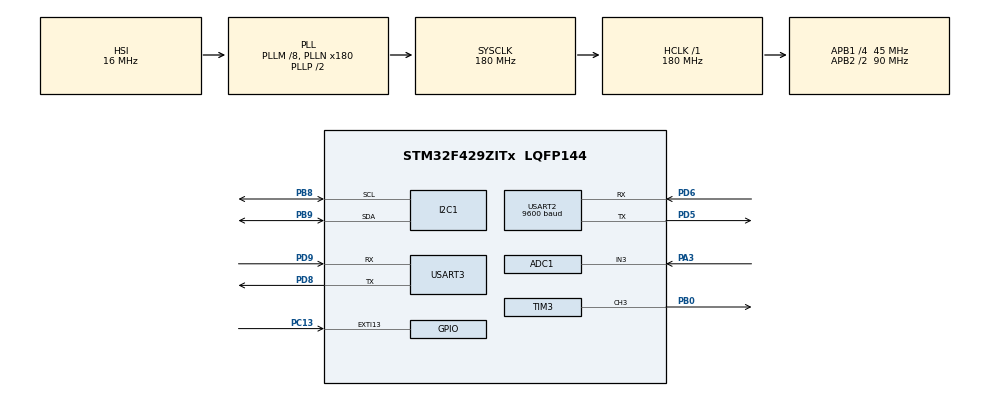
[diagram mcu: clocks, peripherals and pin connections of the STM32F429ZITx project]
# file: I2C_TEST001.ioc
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ADC1.Channel-0\#ChannelRegularConversion=ADC_CHANNEL_3
ADC1.ExternalTrigConv=ADC_EXTERNALTRIGCONV_T2_TRGO
ADC1.NbrOfConversionFlag=1
ADC1.Rank-0\#ChannelRegularConversion=1
ADC1.SamplingTime-0\#ChannelRegularConversion=ADC_SAMPLETIME_3CYCLES
ADC1.master=1
Mcu.Family=STM32F4
Mcu.Name=STM32F429ZITx
Mcu.Package=LQFP144
NVIC.EXTI15_10_IRQn=true\:0\:0\:false\:true\:true\:2\:true\:true\:true
NVIC.PriorityGroup=NVIC_PRIORITYGROUP_4
NVIC.TIM2_IRQn=true\:0\:0\:false\:true\:true\:3\:true\:true\:true
NVIC.TIM4_IRQn=true\:0\:0\:false\:true\:true\:4\:true\:true\:true
NVIC.USART2_IRQn=true\:0\:0\:false\:true\:true\:5\:true\:true\:true
NVIC.USART3_IRQn=true\:0\:0\:false\:true\:true\:1\:true\:true\:true
PA13.Mode=Serial_Wire
PA13.Signal=SYS_JTMS-SWDIO
PA14.Mode=Serial_Wire
PA14.Signal=SYS_JTCK-SWCLK
PA3.Signal=ADCx_IN3
PB0.Signal=S_TIM3_CH3
PB8.GPIO_Pu=GPIO_PULLUP
PB8.Mode=I2C
PB8.Signal=I2C1_SCL
PB9.GPIO_Pu=GPIO_PULLUP
PB9.Mode=I2C
PB9.Signal=I2C1_SDA
PC13.GPIO_ModeDefaultEXTI=GPIO_MODE_IT_RISING_FALLING
PC13.GPIO_PuPd=GPIO_PULLDOWN
PC13.Signal=GPXTI13
PC14/OSC32_IN.Mode=LSE-External-Oscillator
PC14/OSC32_IN.Signal=RCC_OSC32_IN
PC15/OSC32_OUT.Mode=LSE-External-Oscillator
PC15/OSC32_OUT.Signal=RCC_OSC32_OUT
PD5.Mode=Asynchronous
PD5.Signal=USART2_TX
PD6.Mode=Asynchronous
PD6.Signal=USART2_RX
PD8.Mode=Asynchronous
PD8.Signal=USART3_TX
PD9.Mode=Asynchronous
PD9.Signal=USART3_RX
ProjectManager.HeapSize=0x200
ProjectManager.StackSize=0x400
ProjectManager.TargetToolchain=STM32CubeIDE
RCC.48MHZClocksFreq_Value=90000000
RCC.AHBFreq_Value=180000000
RCC.APB1CLKDivider=RCC_HCLK_DIV4
RCC.APB1Freq_Value=45000000
RCC.APB1TimFreq_Value=90000000
RCC.APB2CLKDivider=RCC_HCLK_DIV2
RCC.APB2Freq_Value=90000000
RCC.APB2TimFreq_Value=180000000
RCC.CortexFreq_Value=180000000
RCC.HCLKFreq_Value=180000000
RCC.HSE_VALUE=25000000
RCC.HSI_VALUE=16000000
RCC.PLLM=8
RCC.PLLN=180
RCC.RCC_RTC_Clock_Source=RCC_RTCCLKSOURCE_LSE
RCC.RCC_RTC_Clock_SourceVirtual=RCC_RTCCLKSOURCE_LSE
RCC.SYSCLKFreq_VALUE=180000000
RCC.SYSCLKSource=RCC_SYSCLKSOURCE_PLLCLK
RCC.VCOOutputFreq_Value=360000000
RTC.Format=RTC_FORMAT_BIN
RTC.HourFormat=RTC_HOURFORMAT_12
RTC.TimeFormat=RTC_HOURFORMAT12_PM
SH.ADCx_IN3.0=ADC1_IN3,IN3
SH.S_TIM3_CH3.0=TIM3_CH3,PWM Generation3 CH3
TIM2.CounterMode=TIM_COUNTERMODE_DOWN
TIM2.Period=900
TIM2.Prescaler=50000
TIM2.TIM_MasterOutputTrigger=TIM_TRGO_UPDATE
TIM2.TIM_MasterSlaveMode=TIM_MASTERSLAVEMODE_ENABLE
TIM3.Channel-PWM\ Generation3\ CH3=TIM_CHANNEL_3
TIM3.CounterMode=TIM_COUNTERMODE_DOWN
TIM3.Period=6200
TIM3.Prescaler=29
TIM3.Pulse-PWM\ Generation3\ CH3=0
TIM3.TIM_MasterOutputTrigger=TIM_TRGO_RESET
TIM3.TIM_MasterSlaveMode=TIM_MASTERSLAVEMODE_DISABLE
TIM4.CounterMode=TIM_COUNTERMODE_DOWN
TIM4.Period=900
TIM4.Prescaler=100
USART2.BaudRate=9600
USART2.VirtualMode=VM_ASYNC
USART3.VirtualMode=VM_ASYNC
VP_RTC_VS_RTC_Activate.Mode=RTC_Enabled
VP_RTC_VS_RTC_Calendar.Mode=RTC_Calendar
VP_TIM2_VS_ClockSourceINT.Mode=Internal
VP_TIM3_VS_ClockSourceINT.Mode=Internal
VP_TIM4_VS_ClockSourceINT.Mode=Internal
board=custom

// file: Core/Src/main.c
/* USER CODE BEGIN Header */
/**
 ******************************************************************************
 * @file           : main.c
 * @brief          : Main program body
 ******************************************************************************
 * @attention
 *
 * Copyright (c) 2022 STMicroelectronics.
 * All rights reserved.
 *
 * This software is licensed under terms that can be found in the LICENSE file
 * in the root directory of this software component.
 * If no LICENSE file comes with this software, it is provided AS-IS.
 *
 ******************************************************************************
 */
/* USER CODE END Header */
#include "main.h"
#include "adc.h"
#include "i2c.h"
#include "rtc.h"
#include "tim.h"
#include "usart.h"
#include "gpio.h"

/* USER CODE BEGIN Includes */
#include <stdlib.h>
#include <string.h>
#include "lcd.h"
#include "flash.h"
#include "song.h"

/* USER CODE END Includes */

/* USER CODE BEGIN PTD */
typedef enum {
	NONE = 0x00U,
	SELECT = 0x01U,
	UP = 0x02U,
	DOWN = 0x03U,
	LEFT = 0X04U,
	RIGHT = 0X05U
} ADC_StatusTypeDef;

/* USER CODE END PTD */

/* USER CODE BEGIN PV */
uint8_t song_flag = 0;

//TIM_PWM variable
uint32_t count_bit = 0;
uint32_t flag_bit_1ms = 0;
uint32_t flag_alarm = 0;
uint32_t count_note = 0;
uint32_t song_time_division = 0;
uint32_t song_choice_flag = 0;

//TIM_BASIC_TIM variable
uint32_t sTimestart = 0;
uint32_t sTimecur = 0;

uint32_t get_time = 0;
uint32_t apply_flag = 0;
uint32_t get_time_apply = 0;
uint32_t exit_flag = 0;
uint32_t get_time_exit = 0;

//LCD variable
uint8_t lcdup[17] = { };

//i2c scan()
uint8_t row;
uint8_t rising_edge = 0;
uint8_t falling_edge = 0;
uint8_t mode = 0;
uint32_t start_tick = 0;
uint32_t cur_tick = 0;
uint32_t tick_gap = 0;
uint8_t pin_status[2] = { 0 };
uint8_t cursor = 0;

//ADC variable
ADC_StatusTypeDef adc_status;
uint32_t ADC_value;
uint8_t up = 0;
uint8_t down = 0;
uint8_t left = 0;
uint8_t right = 0;

//RTC variable
char Time[20];
char ampm[2][3] = { "AM", "PM" };
RTC_TimeTypeDef sTime;
RTC_DateTypeDef sDate;

// RTC_mode1 variable
char Time_temp[20];
RTC_TimeTypeDef sTime_temp;
// RTC_mode2 variable
char Time_AL[20] = { };
RTC_TimeTypeDef sTime_AL;

// UART variable
uint8_t buf[20], buf_index = 0;
uint8_t buf_2[20], buf_index_2 = 0;
uint8_t rx_3;
uint8_t rx_2;

/* USER CODE END PV */

void SystemClock_Config(void);
static void MX_NVIC_Init(void);
/* USER CODE BEGIN PFP */
int __io_putchar(int ch) {
	HAL_UART_Transmit(&huart3, &ch, 1, 100);
	return ch;
}

void InitFlag(int num);
char* note_address(int song_num, int count_note);
int time_value(int song_num, int count_note);

// i2c adc func
ADC_StatusTypeDef button_status(uint32_t value);
void screen(int cursor, RTC_TimeTypeDef sTime_screen);
// pwm func
void note(char pitch, char octave, char temp, int time, int volume);
uint32_t pitch_change(char pitch_text);
uint32_t octave_change(char octave_text);
uint32_t temp_change(char temp_text);

void adc_up(int up);
void adc_down(int down);
void adc_left(int left);
void adc_right(int right);

void song_choice_func (uint32_t DATA_32);
void mode_choice();
void mode_func_Normal();
void mode_func_SetTime();
void mode_func_SetAlarm();
void mode_func_SetSong();

uint32_t song_Set() ;

/* USER CODE END PFP */

int main(void)
{

  /* MCU Configuration--------------------------------------------------------*/

  /* Reset of all peripherals, Initializes the Flash interface and the Systick. */
HAL_Init();

  /* Configure the system clock */
  SystemClock_Config();

  /* Initialize all configured peripherals */
  MX_GPIO_Init();
  MX_RTC_Init();
  MX_I2C1_Init();
  MX_USART3_UART_Init();
  MX_ADC1_Init();
  MX_TIM3_Init();
  MX_TIM2_Init();
  MX_TIM4_Init();
  MX_USART2_UART_Init();

  /* Initialize interrupts */
  MX_NVIC_Init();
  /* USER CODE BEGIN 2 */
	HAL_TIM_Base_Start_IT(&htim2);
	HAL_TIM_Base_Start_IT(&htim4);
	HAL_UART_Receive_IT(&huart2, &rx_2, 1);
	HAL_UART_Receive_IT(&huart3, &rx_3, 1);

	song_flag = *((uint32_t*) 0x0800C000);
  /* USER CODE END 2 */

  /* Infinite loop */
  /* USER CODE BEGIN WHILE */
	init();
	LCD_Init(LCD_ADDR);
	up = 0;
	down = 0;
	left = 0;
	right = 0;

	while (1) {
		//init the time_temp
		sTime_temp.Hours = 0;
		sTime_temp.Minutes = 0;
		sTime_temp.Seconds = 0;
		sTime_temp.TimeFormat = 0;

		//Main loop
		mode_func_Normal();
		mode_func_SetTime();
		mode_func_SetAlarm();
		mode_func_SetSong();

    /* USER CODE END WHILE */

	}
}

void SystemClock_Config(void)
{
  RCC_OscInitTypeDef RCC_OscInitStruct = {0};
  RCC_ClkInitTypeDef RCC_ClkInitStruct = {0};

  /** Configure the main internal regulator output voltage
  */
  __HAL_RCC_PWR_CLK_ENABLE();
  __HAL_PWR_VOLTAGESCALING_CONFIG(PWR_REGULATOR_VOLTAGE_SCALE1);

  /** Initializes the RCC Oscillators according to the specified parameters
  * in the RCC_OscInitTypeDef structure.
  */
  RCC_OscInitStruct.OscillatorType = RCC_OSCILLATORTYPE_HSI|RCC_OSCILLATORTYPE_LSE;
  RCC_OscInitStruct.LSEState = RCC_LSE_ON;
  RCC_OscInitStruct.HSIState = RCC_HSI_ON;
  RCC_OscInitStruct.HSICalibrationValue = RCC_HSICALIBRATION_DEFAULT;
  RCC_OscInitStruct.PLL.PLLState = RCC_PLL_ON;
  RCC_OscInitStruct.PLL.PLLSource = RCC_PLLSOURCE_HSI;
  RCC_OscInitStruct.PLL.PLLM = 8;
  RCC_OscInitStruct.PLL.PLLN = 180;
  RCC_OscInitStruct.PLL.PLLP = RCC_PLLP_DIV2;
  RCC_OscInitStruct.PLL.PLLQ = 4;
  if (HAL_RCC_OscConfig(&RCC_OscInitStruct) != HAL_OK)
  {
    Error_Handler();
  }

  /** Activate the Over-Drive mode
  */
  if (HAL_PWREx_EnableOverDrive() != HAL_OK)
  {
    Error_Handler();
  }

  /** Initializes the CPU, AHB and APB buses clocks
  */
  RCC_ClkInitStruct.ClockType = RCC_CLOCKTYPE_HCLK|RCC_CLOCKTYPE_SYSCLK
                              |RCC_CLOCKTYPE_PCLK1|RCC_CLOCKTYPE_PCLK2;
  RCC_ClkInitStruct.SYSCLKSource = RCC_SYSCLKSOURCE_PLLCLK;
  RCC_ClkInitStruct.AHBCLKDivider = RCC_SYSCLK_DIV1;
  RCC_ClkInitStruct.APB1CLKDivider = RCC_HCLK_DIV4;
  RCC_ClkInitStruct.APB2CLKDivider = RCC_HCLK_DIV2;

  if (HAL_RCC_ClockConfig(&RCC_ClkInitStruct, FLASH_LATENCY_5) != HAL_OK)
  {
    Error_Handler();
  }
}

/**
  * @brief NVIC Configuration.
  * @retval None
  */
static void MX_NVIC_Init(void)
{
  /* USART3_IRQn interrupt configuration */
  HAL_NVIC_SetPriority(USART3_IRQn, 0, 0);
  HAL_NVIC_EnableIRQ(USART3_IRQn);
  /* EXTI15_10_IRQn interrupt configuration */
  HAL_NVIC_SetPriority(EXTI15_10_IRQn, 0, 0);
  HAL_NVIC_EnableIRQ(EXTI15_10_IRQn);
  /* TIM2_IRQn interrupt configuration */
  HAL_NVIC_SetPriority(TIM2_IRQn, 0, 0);
  HAL_NVIC_EnableIRQ(TIM2_IRQn);
  /* TIM4_IRQn interrupt configuration */
  HAL_NVIC_SetPriority(TIM4_IRQn, 0, 0);
  HAL_NVIC_EnableIRQ(TIM4_IRQn);
  /* USART2_IRQn interrupt configuration */
  HAL_NVIC_SetPriority(USART2_IRQn, 0, 0);
  HAL_NVIC_EnableIRQ(USART2_IRQn);
}

/* USER CODE BEGIN 4 */
void HAL_GPIO_EXTI_Callback(uint16_t GPIO_Pin) {

	// rising edge
	if (HAL_GPIO_ReadPin(GPIOC, GPIO_PIN_13) == 1) {
		rising_edge++;

		printf("rising edge : %d\r\n", rising_edge);
		if (rising_edge == 1) {
			start_tick = HAL_GetTick();
		}
	}

	// falling edge
	if (HAL_GPIO_ReadPin(GPIOC, GPIO_PIN_13) == 0) {
		if (rising_edge == 0) {
			falling_edge = 0;
		} else {
			falling_edge++;
		}
		printf("falling edge : %d\r\n", falling_edge);
	}

}

void HAL_TIM_PeriodElapsedCallback(TIM_HandleTypeDef *htim) {

	if (htim->Instance == TIM2) {

//		HAL_ADC_Start(&hadc1);
//		HAL_ADC_PollForConversion(&hadc1, 10);
		ADC_value = HAL_ADC_GetValue(&hadc1);
		HAL_ADC_Stop(&hadc1);

		if (button_status(ADC_value) == UP) {
			up++;
//			printf("UP : %d\r\n", up);
		}
		if (button_status(ADC_value) == DOWN) {
			down++;
//			printf("DOWN : %d\r\n", down);
		}
		if (button_status(ADC_value) == LEFT) {
			left++;
//			printf("LEFT : %d\r\n", left);
		}
		if (button_status(ADC_value) == RIGHT) {
			right++;
//			printf("RIGHT : %d\r\n", right);
		}

		if (apply_flag > 0) {
			get_time_apply++;
		}
		if (exit_flag > 0) {
			get_time_exit++;
		}
		get_time++;
//		printf("%d\r\n", ADC_value);
	}

	if (htim->Instance == TIM4) {
		if (flag_alarm > 0) {
			count_bit++;
		} else {
			count_bit = 0;
		}
		flag_bit_1ms = 1;
	}

}

void HAL_UART_RxCpltCallback(UART_HandleTypeDef *huart)
{
	if (huart->Instance == USART2) {
		HAL_UART_Transmit(&huart3, &rx_2, 1, 100);
		HAL_UART_Transmit(&huart2, &rx_2, 1, 100);

		HAL_UART_Receive_IT(&huart2, &rx_2, 1);
	}

	if (huart->Instance == USART3) {
		HAL_UART_Transmit(&huart2, &rx_3, 1, 100);
		HAL_UART_Transmit(&huart3, &rx_3, 1, 100);

		HAL_UART_Receive_IT(&huart3, &rx_3, 1);
	}
}

//init user button & LCD
void InitFlag(int num) {

	LCD_Init(LCD_ADDR);
	apply_flag = 0;
	get_time_apply = 0;
	rising_edge = 0;
	falling_edge = 0;
	mode = num;
	strcpy(lcdup, "");
}
ADC_StatusTypeDef button_status(uint32_t value) {

	if (value < 100)
		return UP;
	if (800 < value && value < 900)
		return DOWN;
	if (1800 < value && value < 2000)
		return LEFT;
	if (2800 < value && value < 3200)
		return RIGHT;
	if (4000 < value && value < 5000)
		return SELECT;

	return NONE;
}

void screen(int cursor, RTC_TimeTypeDef sTime_screen) {
	sprintf(Time_temp, "%s %02d:%02d:%02d", ampm[sTime_screen.TimeFormat],
			sTime_screen.Hours, sTime_screen.Minutes, sTime_screen.Seconds);
	LCD_SendCommand(LCD_ADDR, 0b11000000);
	LCD_SendString(LCD_ADDR, Time_temp);
	for (int i = 0; i < 11 - cursor; i++) {
		LCD_SendCommand(LCD_ADDR, 0b00010000);
	}
}

void note(char pitch_text, char octave_text, char temp_text, int time,
		int volume) {

	if (flag_bit_1ms == 1) {
		int pitch = pitch_change(pitch_text);
		int octave = octave_change(octave_text);
		int temp = temp_change(temp_text);

		// avoid error(ARR == CCR)
		if (volume <= 2) {
			volume = 2;
		}

		// setting the octave
		if (octave != 4) {
			if (octave < 4) {
				for (int i = 0; i < 4 - octave; i++) {
					pitch *= 2;
				}
			} else {
				for (int i = 0; i < octave - 4; i++) {
					pitch /= 2;
				}
			}
		}

		TIM3->ARR = pitch;
		TIM3->CCR3 = pitch / volume;

		flag_bit_1ms = 0;
	}
}
uint32_t pitch_change(char pitch_text) {
	if (pitch_text == 'N') {
		return N;
	} else if (pitch_text == 'C') {
		return C;
	} else if (pitch_text == 'D') {
		return D;
	} else if (pitch_text == 'E') {
		return E;
	} else if (pitch_text == 'F') {
		return F;
	} else if (pitch_text == 'G') {
		return G;
	} else if (pitch_text == 'A') {
		return A;
	} else if (pitch_text == 'B') {
		return B;
	} else {
		return N;
	}
}
uint32_t octave_change(char octave_text) {
	return octave_text - '0';
}
uint32_t temp_change(char temp_text) {
	if (temp_text == 'N') {
		return 0;
	} else if (temp_text == 'S') {
		return 1;
	} else if (temp_text == 'F') {
		return -1;
	} else {
		return 0;
	}
}

char* note_address(int song_num, int count_note) {
	char *song_temp_note;

	if (song_num == 1) {
		song_temp_note = &song_note_1[count_note][0];
	} else if (song_num == 2) {
		song_temp_note = &song_note_2[count_note][0];
	}

	return song_temp_note;
}

int time_value(int song_num, int count_note) {
	int song_time;

	if (song_num == 1) {
		song_time = song_time_1[count_note];
	}

	else if (song_num == 2) {
		song_time = song_time_2[count_note];
	}
	return song_time;
}

void adc_up(int up) {
	if (up > 0) {
		//AM or PM switching
		if (cursor == 0) {
			if (sTime_AL.TimeFormat == 0) {
				sTime_AL.TimeFormat = 1;
				if (sTime_AL.Hours == 0) {
					sTime_AL.Hours = 12;
				}
				screen(cursor, sTime_AL);

			} else if (sTime_AL.TimeFormat == 1) {
				sTime_AL.TimeFormat = 0;
				if (sTime_AL.Hours == 12) {
					sTime_AL.Hours = 0;
				}
				screen(cursor, sTime_AL);
			}
		}

		// 10H switching
		else if (cursor == 3) {

			if (sTime_AL.Hours < 3) {
				sTime_AL.Hours += 10;
			}
			screen(cursor, sTime_AL);
		}

		// 1H switching
		else if (cursor == 4) {

			//AM
			if (sTime_AL.TimeFormat == 0) {
				// 0 ~ 11
				if (0 <= sTime_AL.Hours && sTime_AL.Hours < 11) {
					sTime_AL.Hours++;
				}
			}
			//PM
			else if (sTime_AL.TimeFormat == 1) {

				// 1 ~ 12
				if (1 <= sTime_AL.Hours && sTime_AL.Hours < 12) {
					sTime_AL.Hours++;
				}
			}
			screen(cursor, sTime_AL);
		}

		// 10M switching
		else if (cursor == 6) {
			if (0 <= sTime_AL.Minutes && sTime_AL.Minutes < 50) {
				sTime_AL.Minutes += 10;
			}
			screen(cursor, sTime_AL);
		}
		// 1M switching
		else if (cursor == 7) {
			if (0 <= sTime_AL.Minutes && sTime_AL.Minutes < 59) {
				sTime_AL.Minutes += 1;
			}
			screen(cursor, sTime_AL);
		}

		// 10S switching
		else if (cursor == 9) {
			if (0 <= sTime_AL.Seconds && sTime_AL.Seconds < 50) {
				sTime_AL.Seconds += 10;
			}
			screen(cursor, sTime_AL);
		}
		// 1S switching
		else if (cursor == 10) {
			if (0 <= sTime_AL.Seconds && sTime_AL.Seconds < 59) {
				sTime_AL.Seconds += 1;
			}
			screen(cursor, sTime_AL);
		}

		// clear the up flag
		up = 0;
	}
}

void adc_down(int down) {
	if (down > 0) {

		//AM or PM switching
		if (cursor == 0) {
			if (sTime_AL.TimeFormat == 0) {
				sTime_AL.TimeFormat = 1;
				if (sTime_AL.Hours == 0) {
					sTime_AL.Hours = 12;
				}
				screen(cursor, sTime_AL);
			} else if (sTime_AL.TimeFormat == 1) {
				sTime_AL.TimeFormat = 0;
				if (sTime_AL.Hours == 12) {
					sTime_AL.Hours = 0;
				}
				screen(cursor, sTime_AL);
			}
		}

		// 1H switching
		else if (cursor == 4) {
			if (sTime_AL.Hours > 0) {
				sTime_AL.Hours--;
			}
			screen(cursor, sTime_AL);
		}

		// 10M switching
		else if (cursor == 6) {
			if (0 < sTime_AL.Minutes && sTime_AL.Minutes <= 50) {
				sTime_AL.Minutes -= 10;
			}
			screen(cursor, sTime_AL);
		}
		// 1M switching
		else if (cursor == 7) {
			if (0 < sTime_AL.Minutes && sTime_AL.Minutes <= 59) {
				sTime_AL.Minutes -= 1;
			}
			screen(cursor, sTime_AL);
		}

		// 10S switching
		else if (cursor == 9) {
			if (0 < sTime_AL.Seconds && sTime_AL.Seconds <= 50) {
				sTime_AL.Seconds -= 10;
			}
			screen(cursor, sTime_AL);
		}
		// 1S switching
		else if (cursor == 10) {
			if (0 < sTime_AL.Seconds && sTime_AL.Seconds <= 59) {
				sTime_AL.Seconds -= 1;
			}
			screen(cursor, sTime_AL);
		}

		// clear the down flag
		down = 0;
	}
}

void adc_left(int left) {
	if (left > 0) {
		if (cursor > 0) {
			cursor--;
			LCD_SendCommand(LCD_ADDR, 0b00010000);

			if (cursor == 8) {
				cursor--;
				LCD_SendCommand(LCD_ADDR, 0b00010000);
			}

			if (cursor == 5) {
				cursor--;
				LCD_SendCommand(LCD_ADDR, 0b00010000);
			}

			if (cursor == 2) {
				cursor -= 2;
				LCD_SendCommand(LCD_ADDR, 0b00010000);
				LCD_SendCommand(LCD_ADDR, 0b00010000);
			}
		}

		// clear the left flag
		left = 0;
	}
}

void adc_right(int right) {
	if (right > 0) {

		if (cursor < 10) {
			cursor++;
			LCD_SendCommand(LCD_ADDR, 0b00010100);

			if (cursor == 8) {
				cursor++;
				LCD_SendCommand(LCD_ADDR, 0b00010100);
			}

			if (cursor == 5) {
				cursor++;
				LCD_SendCommand(LCD_ADDR, 0b00010100);
			}

			if (cursor == 1) {
				cursor += 2;
				LCD_SendCommand(LCD_ADDR, 0b00010100);
				LCD_SendCommand(LCD_ADDR, 0b00010100);
			}
		}

		//clear the right flag
		right = 0;
	}
}

void song_choice_func (uint32_t DATA_32) {
	if (DATA_32 == 0x00000001) {
		song_choice_flag = 1;
	}
	else if (DATA_32 == 0x00000002) {
		song_choice_flag = 1;
	}
}

void mode_choice() {
	//mode choose while loop
	while (rising_edge >= 1) {
		cur_tick = HAL_GetTick();
		tick_gap = cur_tick - start_tick;

		//remove bounce effect
		if (tick_gap < 100 && rising_edge > 1) {
			rising_edge = 1;
		}

		if (tick_gap >= 300) {

			if (rising_edge == 1 && falling_edge >= 1) {

				// init the temp
				sTime_temp.Hours = 0;
				sTime_temp.Minutes = 0;
				sTime_temp.Seconds = 0;
				sTime_temp.TimeFormat = 0;
				cursor = 0;

				// LCD up
				LCD_Init(LCD_ADDR);
				LCD_SendCommand(LCD_ADDR, 0b10000000);
				strcpy(lcdup, "Set Time Mode");
				LCD_SendString(LCD_ADDR, lcdup);
				// LCD down
				screen(cursor, sTime_temp);

				LCD_SendCommand(LCD_ADDR, 0b00001111);

				//init the user button
				rising_edge = 0;
				falling_edge = 0;
				mode = 1;
				printf("one click==========================\r\n");
			}

			if (rising_edge >= 2 && falling_edge >= 1) {
				// init the temp
				sTime_AL.Hours = 0;
				sTime_AL.Minutes = 0;
				sTime_AL.Seconds = 0;
				sTime_AL.TimeFormat = 0;
				cursor = 0;

				// LCD up
				LCD_Init(LCD_ADDR);
				//blink on
				LCD_SendCommand(LCD_ADDR, 0b00001111);

				LCD_SendCommand(LCD_ADDR, 0b10000000);
				strcpy(lcdup, "Alarm Mode");
				LCD_SendString(LCD_ADDR, lcdup);
				// LCD down
				screen(cursor, sTime_AL);

				//init the user button
				rising_edge = 0;
				falling_edge = 0;
				mode = 2;

				printf("two click++++++++++++++++++++++++++\r\n");
			}

			if (tick_gap >= 2000 && falling_edge == 0) {

				LCD_Init(LCD_ADDR);

				// set address to 0x00
				LCD_SendCommand(LCD_ADDR, 0b10000000);
				LCD_SendString(LCD_ADDR, "Music Setting");

				// set address to 0x40
				LCD_SendCommand(LCD_ADDR, 0b11000000);
				LCD_SendString(LCD_ADDR, "1.Traffic Light");

				rising_edge = 0;
				falling_edge = 0;
				mode = 3;
				printf("long click//////////////////////////\r\n");
			}
		}
	}
}

void mode_func_Normal() {
	while (mode == 0) {
		HAL_RTC_GetTime(&hrtc, &sTime, RTC_FORMAT_BIN);
		HAL_RTC_GetDate(&hrtc, &sDate, RTC_FORMAT_BIN);
		HAL_ADC_Start(&hadc1);

		sprintf(Time, "%s %02d:%02d:%02d", ampm[sTime.TimeFormat], sTime.Hours,
				sTime.Minutes, sTime.Seconds);

		if (strcmp(lcdup, "Park Jung Hwan") != 0) {
			LCD_Init(LCD_ADDR);
			strcpy(lcdup, "Park Jung Hwan");
			// LCD up
			LCD_SendCommand(LCD_ADDR, 0b10000000);
			LCD_SendString(LCD_ADDR, lcdup);

			sprintf(Time, "%s %02d:%02d:%02d", ampm[sTime.TimeFormat],
					sTime.Hours, sTime.Minutes, sTime.Seconds);

			// LCD down
			LCD_SendCommand(LCD_ADDR, 0b11000000);
			LCD_SendString(LCD_ADDR, Time);
		}

		sTimestart = sTimecur;
		sTimecur = sTime.Seconds;

		if (sTimecur != sTimestart) {
			// LCD down
			LCD_SendCommand(LCD_ADDR, 0b11000000);
			LCD_SendString(LCD_ADDR, Time);
		}
		////////////////////////////////////////////////////////////////////////////////////////////////////
		////////////////////////////////////////////////////////////////////////////////////////////////////
		if (strcmp(Time, Time_AL) == 0) {
			flag_alarm++;
			HAL_TIM_PWM_Start(&htim3, TIM_CHANNEL_3);

		}
		if (flag_alarm > 0) {
			int song_temp_time = time_value(song_flag, count_note);
			char *song_temp_note = note_address(song_flag, count_note);

			if (song_temp_note[0] == '0') {
				TIM3->CCR3 = 0;
				count_note = 0;
				flag_alarm = 0;
				HAL_TIM_PWM_Stop(&htim3, TIM_CHANNEL_3);
			}

			song_time_division = 2000 / song_temp_time;

			if (song_time_division >= count_bit) {

				char tempP;
				char tempO;
				char tempT;

				tempP = song_temp_note[0];
				tempO = song_temp_note[1];
				tempT = song_temp_note[2];

				note(tempP, tempO, tempT, 2000 / song_time_division,
						2 + (count_bit));

			}

			if (song_time_division < count_bit) {
				count_note++;
				count_bit = 0;
			}

			////////////////////////////////////////////////////////////////////////////////////////////////////
			////////////////////////////////////////////////////////////////////////////////////////////////////
		}
		//==========================================================================================================
		mode_choice();
	}
}

void mode_func_SetTime() {
		//==========================================================================================================
		//Set Time loop
		while (mode == 1) {

			// start adc for read adc_value
			HAL_ADC_Start(&hadc1);

			// IF USER CLICK THE USER BUTTON
			// USER CAN CHOOSE EXIT OR APPLY
			if (rising_edge >= 1) {

				// this flag is check the exit or apply
				apply_flag = 1;

				// EXIT without apply
				if (falling_edge > 0) {
					InitFlag(0);
					printf("MODE1 exit\r\n");
				}
				// APPLY and exit
				if (falling_edge == 0 && get_time_apply > 4) {

					// sTime is now applied by user
					sTime.Hours = sTime_temp.Hours;
					sTime.Minutes = sTime_temp.Minutes;
					sTime.Seconds = sTime_temp.Seconds;
					sTime.TimeFormat = sTime_temp.TimeFormat;
					HAL_RTC_SetTime(&hrtc, &sTime, RTC_FORMAT_BIN);

					InitFlag(0);
					printf("MODE1 APPLY\r\n");
				}
			}

			if (get_time > 0) {

				adc_up(up);
				adc_down(down);
				adc_left(left);
				adc_right(right);

				// clear the get_time flag (to measure the time)
				get_time = 0;

			}
		}

		//==========================================================================================================
}
void mode_func_SetAlarm() {
		//AL loop
		while (mode == 2) {
			// start adc for read adc_value
			HAL_ADC_Start(&hadc1);

			// IF USER CLICK THE USER BUTTON
			// USER CAN CHOOSE EXIT OR APPLY
			if (rising_edge >= 1) {

				// Alarm init
				sprintf(Time_AL, "");

				// this flag is check the exit or apply
				apply_flag = 1;

				// EXIT without apply
				if (falling_edge > 0) {
					// ===========================================init func

					InitFlag(0);
					printf("MODE exit\r\n");

					// ===========================================init func
				}
				// APPLY and exit
				if (falling_edge == 0 && get_time_apply > 4) {

					sprintf(Time_AL, "%s %02d:%02d:%02d",
							ampm[sTime_AL.TimeFormat], sTime_AL.Hours,
							sTime_AL.Minutes, sTime_AL.Seconds);

					// ===========================================init func
					InitFlag(0);
					printf("MODE APPLY\r\n");

					// ===========================================init func
				}
			}

			if (get_time > 0) {

				adc_up(up);
				adc_down(down);
				adc_left(left);
				adc_right(right);

				// clear the get_time flag (to measure the time)
				get_time = 0;

			}
		}
		//==========================================================================================================
}
void mode_func_SetSong() {
		//Song choice loop
		while (mode == 3) {

			HAL_ADC_Start(&hadc1);
			uint32_t DATA_32;
			if (get_time > 0) {
//				HAL_ADC_Start(&hadc1);

				if (up > 0) {
					song_flag++;

					if (song_flag <= 0) {
						song_flag = 2;
					}
					else if (song_flag > 2) {
						song_flag = 1;
					}
					DATA_32 = song_Set();
					up = 0;
				}
				if (down > 0) {
					song_flag--;
					if (song_flag <= 0) {
						song_flag = 2;
					}
					else if (song_flag > 2) {
						song_flag = 1;
					}
					DATA_32 = song_Set();
					down = 0;
				}

				// clear the get_time flag (to measure the time)
				get_time = 0;
			}

			// USER CAN CHOOSE EXIT OR APPLY
			if (rising_edge >= 1) {

				// this flag is check the exit or apply
				apply_flag = 1;

				// EXIT without apply
				if (falling_edge > 0) {
					InitFlag(0);
					printf("MODE3 exit\r\n");
				}
				// APPLY and exit
				if (falling_edge == 0 && get_time_apply > 4) {

					LCD_Init(LCD_ADDR);

					// set address to 0x00
					LCD_SendCommand(LCD_ADDR, 0b10000000);
					strcpy(lcdup, "Flash Writing");
					LCD_SendString(LCD_ADDR, lcdup);

					// set address to 0x40
					LCD_SendCommand(LCD_ADDR, 0b11000000);
					LCD_SendString(LCD_ADDR, "Wait for a Sec");

					// Flash Writing Course--------------------------------------------------------------------------------------------------------------------------------------------------
					uint32_t ADDR_FLASH_SECTOR = ADDR_FLASH_SECTOR_3;
					FlashWritingOne(ADDR_FLASH_SECTOR, DATA_32);
					song_flag = *((uint32_t*) 0x0800C000);

					// Flash Writing Course--------------------------------------------------------------------------------------------------------------------------------------------------
					InitFlag(0);
					printf("MODE3 APPLY\r\n");
				}
			}
		}
		//==========================================================================================================
}

uint32_t song_Set() {
	uint32_t DATA_32;

	LCD_Init(LCD_ADDR);

	if (song_flag == 1) {
		DATA_32 = 0x00000001;
		// set address to 0x00
		LCD_SendCommand(LCD_ADDR, 0b10000000);
		LCD_SendString(LCD_ADDR, "Music Setting");

		// set address to 0x40
		LCD_SendCommand(LCD_ADDR, 0b11000000);
		LCD_SendString(LCD_ADDR, song_title_1);
	}
	if (song_flag == 2) {
		DATA_32 = 0x00000002;
		// set address to 0x00
		LCD_SendCommand(LCD_ADDR, 0b10000000);
		LCD_SendString(LCD_ADDR, "Music Setting");

		// set address to 0x40
		LCD_SendCommand(LCD_ADDR, 0b11000000);
		LCD_SendString(LCD_ADDR, song_title_2);
	}

	return DATA_32;
}
/* USER CODE END 4 */

void Error_Handler(void)
{
	__disable_irq();
	while (1) {
	}
}
